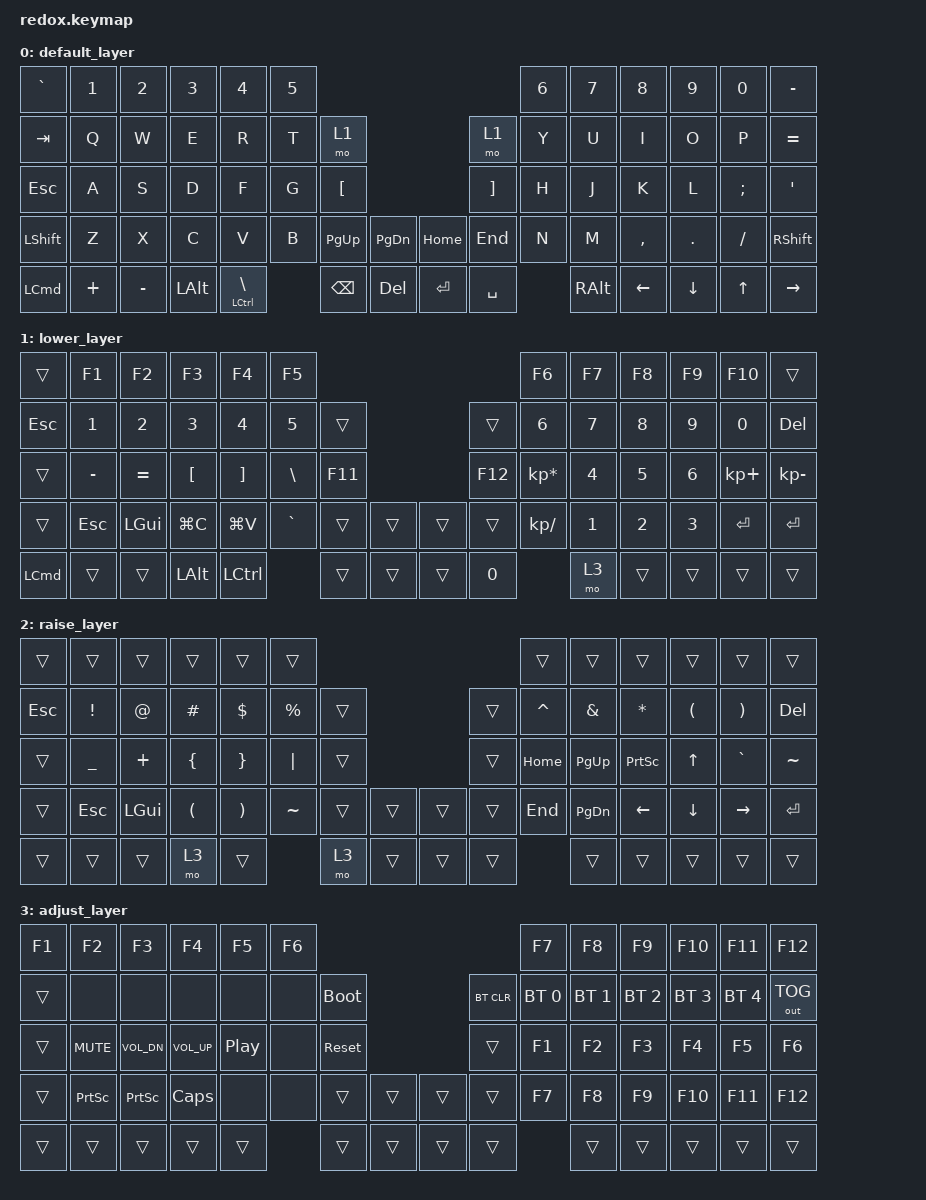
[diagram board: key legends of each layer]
/*
 * Copyright (c) 2021 The ZMK Contributors
 *
 * SPDX-License-Identifier: MIT
 */

#include <behaviors.dtsi>
#include <dt-bindings/zmk/bt.h>
#include <dt-bindings/zmk/keys.h>
#include <dt-bindings/zmk/outputs.h>

/*
 * ZMK Studio support. The Redox shield has no physical layout in ZMK v0.2
 * (only added upstream after v0.3), so we ship our own copy here.
 * This lives in the keymap because the keymap is the last devicetree file
 * in the build, which lets the /delete-property/ below take effect after
 * the shield's redox.dtsi has set the legacy chosen matrix transform.
 */
#include "redox-layouts.dtsi"

&redox_physical_layout {
    transform = <&default_transform>;
};

/ {
    chosen {
        /delete-property/ zmk,matrix-transform;
        zmk,physical-layout = &redox_physical_layout;
    };
};

/ {
    keymap {
        compatible = "zmk,keymap";

        default_layer {
            // --------------------------------------------------------------------------------------------------------------------------------
            // | ESC   |  1  |  2  |   3   |  4  |  5  |                   ---                |  6    |  7    |  8    |  9   | 0  |    BKSP   |
            // | TAB   |  Q  |  W  |   E   |  R  |  T  |   (   |           ---        |  )    |  Y    |  U    |  I    |  O   | P  |     -     |
            // | CTRL  |  A  |  S  |   D   |  F  |  G  |   [   |           ---        |  ]    |  H    |  J    |  K    |  L   | ;  |     '     |
            // | SHIFT |  Z  |  X  |   C   |  V  |  B  | PG_UP | PG_DOWN | --- | HOME | END   |  N    |  M    |  ,    |  .   | /  | SHFT(RET) |
            // | CRTL  | ALT | GUI | LOWER |    GUI    | LOWER | SPACE   | --- | DEL  | SPACE |     RAISE     | LEFT  | DOWN | UP |   RIGHT   |

            bindings = <
&kp GRAVE         &kp N1    &kp N2     &kp N3        &kp N4               &kp N5                                                                &kp N6  &kp N7         &kp N8     &kp N9    &kp N0    &kp MINUS
&kp TAB           &kp Q     &kp W      &kp E         &kp R                &kp T   &mo 1                                      &mo 1              &kp Y   &kp U          &kp I      &kp O     &kp P     &kp EQUAL
&kp ESCAPE        &kp A     &kp S      &kp D         &kp F                &kp G   &kp LEFT_BRACKET                           &kp RIGHT_BRACKET  &kp H   &kp J          &kp K      &kp L     &kp SEMI  &kp SQT
&kp LSHFT         &kp Z     &kp X      &kp C         &kp V                &kp B   &kp PG_UP         &kp PG_DN     &kp HOME   &kp END            &kp N   &kp M          &kp COMMA  &kp DOT   &kp FSLH  &kp RSHFT
&kp LEFT_COMMAND  &kp PLUS  &kp MINUS  &kp LEFT_ALT  &mt LCTRL BACKSLASH          &kp BACKSPACE     &kp DELETE    &kp ENTER  &kp SPACE                  &kp RIGHT_ALT  &kp LEFT   &kp DOWN  &kp UP    &kp RIGHT
            >;
        };

        lower_layer {
            // --------------------------------------------------------------------------------------------------------------------------
            // | ESC   |  1  |  2  |   3   |   4   |  5  |                   ---              |  6  |  7  |   8  |  9   |  0  |  DEL  |
            // | ESC   |  1  |  2  |   3   |   4   |  5  |   (   |           ---        |  )  |  6  |  7  |   8  |  9   |  0  |  DEL  |
            // | CTRL  |  -  |  =  |   [   |   ]   |  \  |   [   |           ---        |  ]  |  *  |  4  |   5  |  6   |  +  |   -   |
            // | SHIFT | ESC | GUI | COPY  | PASTE |     | PG_UP | PG_DOWN | --- | HOME | END |  \  |  1  |   2  |  3   | RET |  RET  |
            // | CRTL  | ALT | GUI | LOWER |     GUI     | LOWER | SPACE   | --- | DEL  |  0  |    RAISE  | LEFT | DOWN | UP  | RIGHT |

            bindings = <
&trans    &kp F1     &kp F2     &kp F3        &kp F4     &kp F5                                         &kp F6           &kp F7  &kp F8  &kp F9  &kp F10      &trans
&kp ESC   &kp N1     &kp N2     &kp N3        &kp N4     &kp N5     &trans                     &trans   &kp N6           &kp N7  &kp N8  &kp N9  &kp N0       &kp DEL
&trans    &kp MINUS  &kp EQUAL  &kp LBKT      &kp RBKT   &kp BSLH   &kp F11                    &kp F12  &kp KP_MULTIPLY  &kp N4  &kp N5  &kp N6  &kp KP_PLUS  &kp KP_MINUS
&trans    &kp ESC    &kp LGUI   &kp LG(C)     &kp LG(V)  &kp GRAVE  &trans   &trans    &trans  &trans   &kp KP_DIVIDE    &kp N1  &kp N2  &kp N3  &kp RET      &kp RET
&kp LCMD  &trans     &trans     &kp LEFT_ALT  &kp LCTRL             &trans   &trans    &trans  &kp N0                    &mo 3   &trans  &trans  &trans       &trans
            >;
        };

        raise_layer {
            // ----------------------------------------------------------------------------------------------------------------------------
            // | ESC   |  1  |  2  |   3   |  4  |  5  |                   ---                |  6   |  7   |  8   |  9   |  0    |  DEL  |
            // | ESC   |  !  |  @  |   #   |  $  |  %  |   (   |           ---        |  )    |  ^   |  &   |  *   |  (   |  )    |  DEL  |
            // | CTRL  |  _  |  +  |   {   |  }  | "|" |   [   |           ---        |  ]    | HOME | PGUP | PRSC | UP   |  `    |   ~   |
            // | SHIFT | ESC | GUI |   (   |  )  |     | PG_UP | PG_DOWN | --- | HOME | END   | END  | PGDN | LEFT | DOWN | RIGHT |  RET  |
            // | CRTL  | ALT | GUI | LOWER |    GUI    | LOWER | SPACE   | --- | DEL  | SPACE |    RAISE    | LEFT | DOWN | UP    | RIGHT |

            bindings = <
&trans   &trans     &trans    &trans    &trans    &trans                                       &trans     &trans     &trans     &trans    &trans     &trans
&kp ESC  &kp EXCL   &kp AT    &kp HASH  &kp DLLR  &kp PRCNT  &trans                    &trans  &kp CARET  &kp AMPS   &kp ASTRK  &kp LPAR  &kp RPAR   &kp DEL
&trans   &kp UNDER  &kp PLUS  &kp LBRC  &kp RBRC  &kp PIPE   &trans                    &trans  &kp HOME   &kp PG_UP  &kp PSCRN  &kp UP    &kp GRAVE  &kp TILDE
&trans   &kp ESC    &kp LGUI  &kp LPAR  &kp RPAR  &kp TILDE  &trans  &trans    &trans  &trans  &kp END    &kp PG_DN  &kp LEFT   &kp DOWN  &kp RIGHT  &kp RET
&trans   &trans     &trans    &mo 3     &trans               &mo 3   &trans    &trans  &trans             &trans     &trans     &trans    &trans     &trans
            >;
        };

        adjust_layer {
            // -----------------------------------------------------------------------------------------
            // |  F1   |  F2   |    F3    |    F4     |     F5     | F6 |                   ---                | F7  | F8  |  F9  |  F10 | F11 | F12        |
            // | TAB   |       |          |           |            |    | BOOTL |           ---        |  )    | BT1 | BT2 |  BT3 |  BT4 | BT5 | OUTPUT TGL |
            // | CTRL  | MUTE  |  Vol Dn  |  Vol Up   | Play/Pause |    | RESET |           ---        |  ]    | F1  | F2  |  F3  |  F4  | F5  | F6         |
            // | SHIFT | PSCRN |  PSCRN   |   CAPS    |            |    | PG_UP | PG_DOWN | --- | HOME | END   | F7  | F8  |  F9  |  F10 | F11 | F12        |
            // | CRTL  | ALT   |  GUI     |   LOWER   |      GUI        | LOWER | SPACE   | --- | DEL  | SPACE |   RAISE   | LEFT | DOWN | UP  |   RIGHT    |

            bindings = <
&kp F1  &kp F2      &kp F3        &kp F4        &kp F5            &kp F6                                             &kp F7        &kp F8        &kp F9        &kp F10       &kp F11       &kp F12
&trans  &none       &none         &none         &none             &none   &bootloader                    &bt BT_CLR  &bt BT_SEL 0  &bt BT_SEL 1  &bt BT_SEL 2  &bt BT_SEL 3  &bt BT_SEL 4  &out OUT_TOG
&trans  &kp K_MUTE  &kp C_VOL_DN  &kp C_VOL_UP  &kp C_PLAY_PAUSE  &none   &sys_reset                     &trans      &kp F1        &kp F2        &kp F3        &kp F4        &kp F5        &kp F6
&trans  &kp PSCRN   &kp PSCRN     &kp CLCK      &none             &none   &trans       &trans    &trans  &trans      &kp F7        &kp F8        &kp F9        &kp F10       &kp F11       &kp F12
&trans  &trans      &trans        &trans        &trans                    &trans       &trans    &trans  &trans                    &trans        &trans        &trans        &trans        &trans
            >;
        };
    };
};
